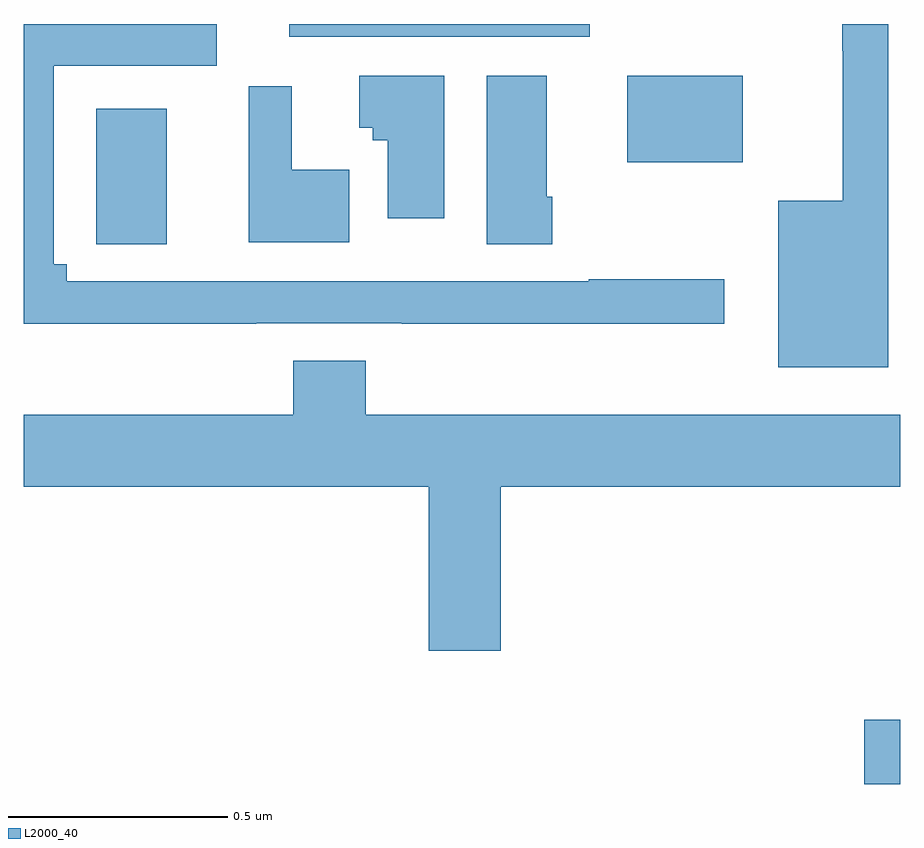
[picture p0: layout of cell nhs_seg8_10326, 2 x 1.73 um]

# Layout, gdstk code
import gdstk
lib = gdstk.Library(unit=1e-6, precision=1e-09)
def R(c, l, rs):  # rectangles x0, y0, x1, y1
    for r in rs: c.add(gdstk.rectangle(r[:2], r[2:], *l))
def P(c, l, *ps):  # polygons
    for p in ps: c.add(gdstk.Polygon(p, *l))
L2000_40 = (2000, 40)

nhs_seg8_10326 = lib.new_cell('nhs_seg8_10326')
R(nhs_seg8_10326, L2000_40, [(249.918,1105.166,250,1105.313), (248.165,1106.398,248.326,1106.707), (249.377,1106.585,249.64,1106.782), (248.606,1106.871,249.292,1106.9)])
P(nhs_seg8_10326, L2000_40, [(248.531,1106.217),(248.863,1106.217),(248.863,1106.216),(249.598,1106.216),(249.598,1106.318),(249.289,1106.318),(249.289,1106.313),(248.098,1106.313),(248.098,1106.352),(248.068,1106.352),(248.068,1106.805),(248.44,1106.805),(248.44,1106.9),(248,1106.9),(248,1106.216),(248.531,1106.216)],
  [(249.973,1106.9),(249.867,1106.9),(249.867,1106.839),(249.869,1106.839),(249.869,1106.497),(249.722,1106.497),(249.722,1106.117),(249.973,1106.117)],
  [(249.206,1106.506),(249.193,1106.506),(249.193,1106.782),(249.056,1106.782),(249.056,1106.398),(249.206,1106.398)],
  [(248.959,1106.782),(248.765,1106.782),(248.765,1106.663),(248.796,1106.663),(248.796,1106.635),(248.831,1106.635),(248.831,1106.457),(248.959,1106.457)],
  [(248.743,1106.568),(248.611,1106.568),(248.611,1106.758),(248.513,1106.758),(248.513,1106.402),(248.743,1106.402)],
  [(249.088,1105.844),(250,1105.844),(250,1106.008),(248.78,1106.008),(248.78,1106.132),(248.615,1106.132),(248.615,1106.008),(248,1106.008),(248,1105.844),(248.924,1105.844),(248.924,1105.47),(249.088,1105.47)])

lib.write_gds('nhs_seg8_10326.gds')
